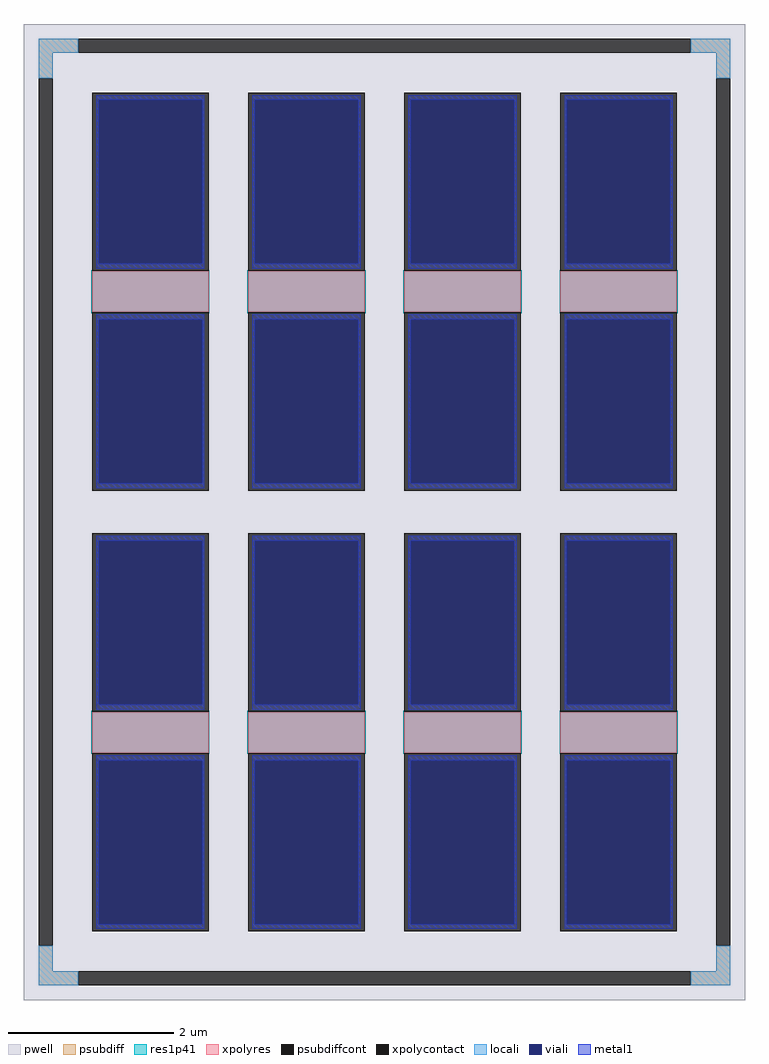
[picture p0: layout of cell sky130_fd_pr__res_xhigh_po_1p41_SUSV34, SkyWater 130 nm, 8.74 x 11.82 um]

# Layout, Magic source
magic
tech sky130A
magscale 1 2
<< pwell >>
rect -874 -1182 874 1182
<< psubdiff >>
rect -838 1112 -742 1146
rect 742 1112 838 1146
rect -838 1050 -804 1112
rect 804 1050 838 1112
rect -838 -1112 -804 -1050
rect 804 -1112 838 -1050
rect -838 -1146 -742 -1112
rect 742 -1146 838 -1112
<< psubdiffcont >>
rect -742 1112 742 1146
rect -838 -1050 -804 1050
rect 804 -1050 838 1050
rect -742 -1146 742 -1112
<< xpolycontact >>
rect -708 584 -426 1016
rect -708 52 -426 484
rect -330 584 -48 1016
rect -330 52 -48 484
rect 48 584 330 1016
rect 48 52 330 484
rect 426 584 708 1016
rect 426 52 708 484
rect -708 -484 -426 -52
rect -708 -1016 -426 -584
rect -330 -484 -48 -52
rect -330 -1016 -48 -584
rect 48 -484 330 -52
rect 48 -1016 330 -584
rect 426 -484 708 -52
rect 426 -1016 708 -584
<< xpolyres >>
rect -708 484 -426 584
rect -330 484 -48 584
rect 48 484 330 584
rect 426 484 708 584
rect -708 -584 -426 -484
rect -330 -584 -48 -484
rect 48 -584 330 -484
rect 426 -584 708 -484
<< locali >>
rect -838 1112 -742 1146
rect 742 1112 838 1146
rect -838 1050 -804 1112
rect 804 1050 838 1112
rect -838 -1112 -804 -1050
rect 804 -1112 838 -1050
rect -838 -1146 -742 -1112
rect 742 -1146 838 -1112
<< viali >>
rect -692 601 -442 998
rect -314 601 -64 998
rect 64 601 314 998
rect 442 601 692 998
rect -692 70 -442 467
rect -314 70 -64 467
rect 64 70 314 467
rect 442 70 692 467
rect -692 -467 -442 -70
rect -314 -467 -64 -70
rect 64 -467 314 -70
rect 442 -467 692 -70
rect -692 -998 -442 -601
rect -314 -998 -64 -601
rect 64 -998 314 -601
rect 442 -998 692 -601
<< metal1 >>
rect -698 998 -436 1010
rect -698 601 -692 998
rect -442 601 -436 998
rect -698 589 -436 601
rect -320 998 -58 1010
rect -320 601 -314 998
rect -64 601 -58 998
rect -320 589 -58 601
rect 58 998 320 1010
rect 58 601 64 998
rect 314 601 320 998
rect 58 589 320 601
rect 436 998 698 1010
rect 436 601 442 998
rect 692 601 698 998
rect 436 589 698 601
rect -698 467 -436 479
rect -698 70 -692 467
rect -442 70 -436 467
rect -698 58 -436 70
rect -320 467 -58 479
rect -320 70 -314 467
rect -64 70 -58 467
rect -320 58 -58 70
rect 58 467 320 479
rect 58 70 64 467
rect 314 70 320 467
rect 58 58 320 70
rect 436 467 698 479
rect 436 70 442 467
rect 692 70 698 467
rect 436 58 698 70
rect -698 -70 -436 -58
rect -698 -467 -692 -70
rect -442 -467 -436 -70
rect -698 -479 -436 -467
rect -320 -70 -58 -58
rect -320 -467 -314 -70
rect -64 -467 -58 -70
rect -320 -479 -58 -467
rect 58 -70 320 -58
rect 58 -467 64 -70
rect 314 -467 320 -70
rect 58 -479 320 -467
rect 436 -70 698 -58
rect 436 -467 442 -70
rect 692 -467 698 -70
rect 436 -479 698 -467
rect -698 -601 -436 -589
rect -698 -998 -692 -601
rect -442 -998 -436 -601
rect -698 -1010 -436 -998
rect -320 -601 -58 -589
rect -320 -998 -314 -601
rect -64 -998 -58 -601
rect -320 -1010 -58 -998
rect 58 -601 320 -589
rect 58 -998 64 -601
rect 314 -998 320 -601
rect 58 -1010 320 -998
rect 436 -601 698 -589
rect 436 -998 442 -601
rect 692 -998 698 -601
rect 436 -1010 698 -998
<< res1p41 >>
rect -710 482 -424 586
rect -332 482 -46 586
rect 46 482 332 586
rect 424 482 710 586
rect -710 -586 -424 -482
rect -332 -586 -46 -482
rect 46 -586 332 -482
rect 424 -586 710 -482
<< properties >>
string FIXED_BBOX -821 -1129 821 1129
string gencell sky130_fd_pr__res_xhigh_po_1p41
string library sky130
string parameters w 1.41 l 0.5 m 2 nx 4 wmin 1.410 lmin 0.50 rho 2000 val 976.17 dummy 0 dw 0.0 term 188.2 sterm 0.0 caplen 0 wmax 1.410 guard 1 glc 1 grc 1 gtc 1 gbc 1 compatible {sky130_fd_pr__res_xhigh_po_0p35  sky130_fd_pr__res_xhigh_po_0p69 sky130_fd_pr__res_xhigh_po_1p41  sky130_fd_pr__res_xhigh_po_2p85 sky130_fd_pr__res_xhigh_po_5p73} snake 0 full_metal 1 n_guard 0 hv_guard 0 vias 1 viagb 0 viagt 0 viagl 0 viagr 0
<< end >>
